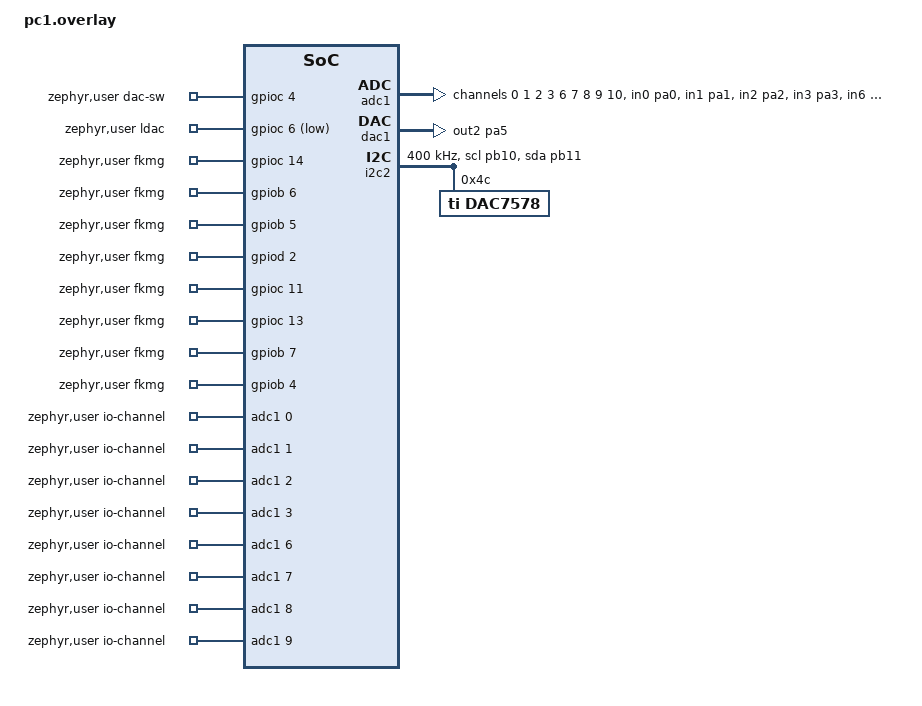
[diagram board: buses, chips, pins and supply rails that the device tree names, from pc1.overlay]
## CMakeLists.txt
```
# SPDX-License-Identifier: Apache-2.0

cmake_minimum_required(VERSION 3.20.0)

# Uncomment if you must specify the board here
set(BOARD fkmg_stm32f405)

# Set BOARD_ROOT to the parent directory of the 'boards' folder
list(APPEND BOARD_ROOT "/workspaces/terpsichore")

set(DTC_OVERLAY_FILE "${CMAKE_CURRENT_SOURCE_DIR}/terpsichore.overlay")

find_package(Zephyr REQUIRED HINTS $ENV{ZEPHYR_BASE})

# Include custom bindings in your board directory
set(ZEPHYR_EXTRA_MODULES "${BOARD_ROOT}/boards/arm/fkmg_terpsichore")

project(TERPSICHORE)

# Optimization flags based on build type
set(CMAKE_BUILD_TYPE Debug CACHE STRING "Choose the type of build.")
if(CMAKE_BUILD_TYPE MATCHES Debug)
    set(CMAKE_C_FLAGS "${CMAKE_C_FLAGS} -O0 -g" CACHE STRING "" FORCE)
elseif(CMAKE_BUILD_TYPE MATCHES Release)
    set(CMAKE_C_FLAGS "${CMAKE_C_FLAGS} -O3" CACHE STRING "" FORCE)
elseif(CMAKE_BUILD_TYPE MATCHES MinSizeRel)
    set(CMAKE_C_FLAGS "${CMAKE_C_FLAGS} -Os" CACHE STRING "" FORCE)
elseif(CMAKE_BUILD_TYPE MATCHES RelWithDebInfo)
    set(CMAKE_C_FLAGS "${CMAKE_C_FLAGS} -O2 -g" CACHE STRING "" FORCE)
endif()

# Explicitly list source files
set(app_sources
    src/main.c
)

target_sources(app PRIVATE ${app_sources})

# Main Include Directory
target_include_directories(app PRIVATE include)
```

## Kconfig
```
source "Kconfig.zephyr"

# menu "FKMG Terpsichore"

# rsource "drivers/Kconfig"

# endmenu
```

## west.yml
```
manifest:
  self:
    west-commands: scripts/west-commands.yml

  remotes:
    - name: zephyrproject-rtos
      url-base: https://github.com/zephyrproject-rtos
    - name: fkmg
      url-base: git@github.com:marcrickenbach

  projects:
    - name: zephyr
      remote: zephyrproject-rtos
      revision: v4.0.0-rc1
      import:
        name-allowlist:
          - hal_nxp
          - hal_stm32
          - cmsis
    - name: dac7578
      url: https://github.com/marcrickenbach/dac7578
      revision: main
      path: modules/fkmg/dac7578
```

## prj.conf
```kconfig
#Development Configs
CONFIG_MAIN_STACK_SIZE=4095
CONFIG_ARM_MPU=y

CONFIG_PINCTRL=y
CONFIG_PRINTK=y

# CONFIG_CONSOLE=y
# CONFIG_UART_CONSOLE=y
# CONFIG_SERIAL=y

CONFIG_LOG=y
CONFIG_LOG_MODE_IMMEDIATE=y
CONFIG_LOG_DEFAULT_LEVEL=4

#Peripheral Configs
CONFIG_ADC=y
CONFIG_GPIO=y
CONFIG_I2C=y
CONFIG_DAC=y
CONFIG_DAC7578=y
CONFIG_DAC7578_INIT_PRIORITY=80

# #Zephyr Specific Configs
CONFIG_MULTITHREADING=y
CONFIG_SMF=y
CONFIG_POLL=y
CONFIG_EVENTS=y
```

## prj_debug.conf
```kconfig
# #Development Configs

# CONFIG_CONSOLE=y
# CONFIG_PRINTK=y
# CONFIG_UART_INTERRUPT_DRIVEN=y
# CONFIG_REGULATOR=y

# #Peripheral Configs
# CONFIG_GPIO=y
# CONFIG_COUNTER=y
# # CONFIG_COUNTER_INIT_PRIORITY=50
# CONFIG_COUNTER_TIMER_STM32=y
# # CONFIG_COUNTER_RTC_STM32=y
# CONFIG_ADC=y
# CONFIG_PWM=y
# # CONFIG_DMA=y

# # #Transmission Configs
# CONFIG_SPI=y
# CONFIG_SPI_STM32=y
# # CONFIG_SPI_STM32_DMA=y
# # CONFIG_SPI_STM32_USE_HW_SS=n
# CONFIG_SPI_ASYNC=y
# CONFIG_DAC=y

# #Zephyr Specific Configs
# CONFIG_MULTITHREADING=y
# CONFIG_SMF=y
# CONFIG_POLL=y
# CONFIG_EVENTS=y
# CONFIG_DEBUG=y
# CONFIG_ASSERT=y
```

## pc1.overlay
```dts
/* USQ PC1 OVERLAY */

/{
    zephyr,user {
        dac-sw-gpios =  <&gpioc 4 GPIO_ACTIVE_HIGH>;
        ldac-gpios   =  <&gpioc 6 GPIO_ACTIVE_LOW>;


        io-channels         =  <&adc1 0>, // CV In 1
                               <&adc1 1>, // CV In 2
                               <&adc1 2>, // CV In 3
                               <&adc1 3>, // CV In 4
                               <&adc1 6>, // CH 1 Pot
                               <&adc1 7>, // CH 2 Pot
                               <&adc1 8>, // CH 3 Pot
                               <&adc1 9>, // CH 4 Pot
                               <&adc1 10>;// Param Pot

        fkmg-gpios =    <&gpioc 14 GPIO_ACTIVE_HIGH>, // Mode LEDs
                        <&gpiob  6 GPIO_ACTIVE_HIGH>,
                        <&gpiob  5 GPIO_ACTIVE_HIGH>,
                        <&gpiod  2 GPIO_ACTIVE_HIGH>,
                        <&gpioc 11 GPIO_ACTIVE_HIGH>,

                        <&gpioc 13 GPIO_ACTIVE_HIGH>, // Sub LEDs
                        <&gpiob  7 GPIO_ACTIVE_HIGH>,
                        <&gpiob  4 GPIO_ACTIVE_HIGH>,
                        <&gpioc 12 GPIO_ACTIVE_HIGH>,
                        <&gpioc 10 GPIO_ACTIVE_HIGH>,

                        <&gpiob 8 GPIO_ACTIVE_HIGH>, // Mode Select
                        <&gpiob 9 GPIO_ACTIVE_HIGH>; // Sub Select
        };

};


/**************************************/

&clk_hse {
	/delete-property/ hse-bypass;
};

&rcc {
    clocks = <&pll>;
    clock-frequency = <DT_FREQ_M(168)>;
    ahb-prescaler = <1>;
    apb1-prescaler = <4>; 
    apb2-prescaler = <2>;
};

/* Highest possible values to get a precise 48MHz clock for the USB on PLLQ. 
 * We could get the clock to 180MHz if we could derive the USB clock from the 
 * PLLSAIP, but Zephyr doesn't yet support this. If we need these extra MHz 
  * revisit this, for now probably ok. 
  */
&pll {
    div-m = <8>;
    mul-n = <336>;
    div-p = <2>;
    div-q = <7>;
    clocks = <&clk_hse>;
    status = "okay";
};


&adc1 {
    pinctrl-0 = <&adc1_in0_pa0
                 &adc1_in1_pa1 
                 &adc1_in2_pa2 
                 &adc1_in3_pa3
                 &adc1_in6_pa6
                 &adc1_in7_pa7
                 &adc1_in8_pb0
                 &adc1_in9_pb1
                 &adc1_in10_pc0>;  
    pinctrl-names = "default";
    st,adc-prescaler = <2>;
    status = "okay";
    #address-cells = <1>;
	#size-cells = <0>;

	channel@0 { // CV In 1
		reg = <0>;
		zephyr,gain = "ADC_GAIN_1";
		zephyr,reference = "ADC_REF_INTERNAL";
		zephyr,acquisition-time = <ADC_ACQ_TIME_DEFAULT>;
		zephyr,resolution = <12>;
	};
    channel@1 { // CV In 1
        reg = <1>;
        zephyr,gain = "ADC_GAIN_1";
        zephyr,reference = "ADC_REF_INTERNAL";
        zephyr,acquisition-time = <ADC_ACQ_TIME_DEFAULT>;
        zephyr,resolution = <12>;
    };
    channel@2 { // CV In 1
        reg = <2>;
        zephyr,gain = "ADC_GAIN_1";
        zephyr,reference = "ADC_REF_INTERNAL";
        zephyr,acquisition-time = <ADC_ACQ_TIME_DEFAULT>;
        zephyr,resolution = <12>;
    };
    channel@3 { // CV In 1
        reg = <3>;
        zephyr,gain = "ADC_GAIN_1";
        zephyr,reference = "ADC_REF_INTERNAL";
        zephyr,acquisition-time = <ADC_ACQ_TIME_DEFAULT>;
        zephyr,resolution = <12>;
    };
    channel@6 {
        reg = <6>;
        zephyr,gain = "ADC_GAIN_1";
        zephyr,reference = "ADC_REF_INTERNAL";
        zephyr,acquisition-time = <ADC_ACQ_TIME_DEFAULT>;
        zephyr,resolution = <8>;
    };
    channel@7 {
        reg = <7>;
        zephyr,gain = "ADC_GAIN_1";
        zephyr,reference = "ADC_REF_INTERNAL";
        zephyr,acquisition-time = <ADC_ACQ_TIME_DEFAULT>;
        zephyr,resolution = <8>;
    };
    channel@8 {
        reg = <8>;
        zephyr,gain = "ADC_GAIN_1";
        zephyr,reference = "ADC_REF_INTERNAL";
        zephyr,acquisition-time = <ADC_ACQ_TIME_DEFAULT>;
        zephyr,resolution = <8>;
    };
    channel@9 {
        reg = <9>;
        zephyr,gain = "ADC_GAIN_1";
        zephyr,reference = "ADC_REF_INTERNAL";
        zephyr,acquisition-time = <ADC_ACQ_TIME_DEFAULT>;
        zephyr,resolution = <8>;
    };
    channel@a {
        reg = <10>;
        zephyr,gain = "ADC_GAIN_1";
        zephyr,reference = "ADC_REF_INTERNAL";
        zephyr,acquisition-time = <ADC_ACQ_TIME_DEFAULT>;
        zephyr,resolution = <8>;
    };
};


&dac1 {
    pinctrl-0 = <&dac_out2_pa5>;  
    pinctrl-names = "default";
    status = "okay";  
};


&i2c2 {
    status = "okay";
    clock-frequency = <400000>;
    pinctrl-0 = <&i2c2_scl_pb10 &i2c2_sda_pb11>;
    pinctrl-names = "default";

    dac7578: dac7578@4c {
        compatible = "ti,dac7578";
        reg = <0x4c>;
        status = "okay";
    };
};


&dma1 {
    status="okay";
};


&dma2 {
    status="okay";
};
```

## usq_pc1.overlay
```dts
/* TERPSICHORE OVERLAY */

/{
    zephyr,user {
        dac-sw-gpios =  <&gpioc 4 GPIO_ACTIVE_HIGH>;
        ldac-gpios   =  <&gpioc 6 GPIO_ACTIVE_LOW>;


        io-channels         =  <&adc1 0>, // CV In 1
                               <&adc1 1>, // CV In 2
                               <&adc1 2>, // CV In 3
                               <&adc1 3>, // CV In 4
                               <&adc1 6>, // CH 1 Pot
                               <&adc1 7>, // CH 2 Pot
                               <&adc1 8>, // CH 3 Pot
                               <&adc1 9>, // CH 4 Pot
                               <&adc1 10>;// Param Pot

        fkmg-gpios =    <&gpioc 14 GPIO_ACTIVE_HIGH>, // Mode LEDs
                        <&gpiob  6 GPIO_ACTIVE_HIGH>,
                        <&gpiob  5 GPIO_ACTIVE_HIGH>,
                        <&gpiod  2 GPIO_ACTIVE_HIGH>,
                        <&gpioc 11 GPIO_ACTIVE_HIGH>,

                        <&gpioc 13 GPIO_ACTIVE_HIGH>, // Sub LEDs
                        <&gpiob  7 GPIO_ACTIVE_HIGH>,
                        <&gpiob  4 GPIO_ACTIVE_HIGH>,
                        <&gpioc 12 GPIO_ACTIVE_HIGH>,
                        <&gpioc 10 GPIO_ACTIVE_HIGH>,

                        <&gpiob 8 GPIO_ACTIVE_HIGH>, // Mode Select
                        <&gpiob 9 GPIO_ACTIVE_HIGH>; // Sub Select
        };

};


/**************************************/

&clk_hse {
	/delete-property/ hse-bypass;
};

&rcc {
    clocks = <&pll>;
    clock-frequency = <DT_FREQ_M(168)>;
    ahb-prescaler = <1>;
    apb1-prescaler = <4>; 
    apb2-prescaler = <2>;
};

/* Highest possible values to get a precise 48MHz clock for the USB on PLLQ. 
 * We could get the clock to 180MHz if we could derive the USB clock from the 
 * PLLSAIP, but Zephyr doesn't yet support this. If we need these extra MHz 
  * revisit this, for now probably ok. 
  */
&pll {
    div-m = <8>;
    mul-n = <336>;
    div-p = <2>;
    div-q = <7>;
    clocks = <&clk_hse>;
    status = "okay";
};


&adc1 {
    pinctrl-0 = <&adc1_in0_pa0
                 &adc1_in1_pa1 
                 &adc1_in2_pa2 
                 &adc1_in3_pa3
                 &adc1_in6_pa6
                 &adc1_in7_pa7
                 &adc1_in8_pb0
                 &adc1_in9_pb1
                 &adc1_in10_pc0>;  
    pinctrl-names = "default";
    st,adc-prescaler = <2>;
    status = "okay";
    #address-cells = <1>;
	#size-cells = <0>;

	channel@0 { // CV In 1
		reg = <0>;
		zephyr,gain = "ADC_GAIN_1";
		zephyr,reference = "ADC_REF_INTERNAL";
		zephyr,acquisition-time = <ADC_ACQ_TIME_DEFAULT>;
		zephyr,resolution = <12>;
	};
    channel@1 { // CV In 1
        reg = <1>;
        zephyr,gain = "ADC_GAIN_1";
        zephyr,reference = "ADC_REF_INTERNAL";
        zephyr,acquisition-time = <ADC_ACQ_TIME_DEFAULT>;
        zephyr,resolution = <12>;
    };
    channel@2 { // CV In 1
        reg = <2>;
        zephyr,gain = "ADC_GAIN_1";
        zephyr,reference = "ADC_REF_INTERNAL";
        zephyr,acquisition-time = <ADC_ACQ_TIME_DEFAULT>;
        zephyr,resolution = <12>;
    };
    channel@3 { // CV In 1
        reg = <3>;
        zephyr,gain = "ADC_GAIN_1";
        zephyr,reference = "ADC_REF_INTERNAL";
        zephyr,acquisition-time = <ADC_ACQ_TIME_DEFAULT>;
        zephyr,resolution = <12>;
    };
    channel@6 {
        reg = <6>;
        zephyr,gain = "ADC_GAIN_1";
        zephyr,reference = "ADC_REF_INTERNAL";
        zephyr,acquisition-time = <ADC_ACQ_TIME_DEFAULT>;
        zephyr,resolution = <8>;
    };
    channel@7 {
        reg = <7>;
        zephyr,gain = "ADC_GAIN_1";
        zephyr,reference = "ADC_REF_INTERNAL";
        zephyr,acquisition-time = <ADC_ACQ_TIME_DEFAULT>;
        zephyr,resolution = <8>;
    };
    channel@8 {
        reg = <8>;
        zephyr,gain = "ADC_GAIN_1";
        zephyr,reference = "ADC_REF_INTERNAL";
        zephyr,acquisition-time = <ADC_ACQ_TIME_DEFAULT>;
        zephyr,resolution = <8>;
    };
    channel@9 {
        reg = <9>;
        zephyr,gain = "ADC_GAIN_1";
        zephyr,reference = "ADC_REF_INTERNAL";
        zephyr,acquisition-time = <ADC_ACQ_TIME_DEFAULT>;
        zephyr,resolution = <8>;
    };
    channel@a {
        reg = <10>;
        zephyr,gain = "ADC_GAIN_1";
        zephyr,reference = "ADC_REF_INTERNAL";
        zephyr,acquisition-time = <ADC_ACQ_TIME_DEFAULT>;
        zephyr,resolution = <8>;
    };
};


&dac1 {
    pinctrl-0 = <&dac_out2_pa5>;  
    pinctrl-names = "default";
    status = "okay";  
};


&i2c2 {
    status = "okay";
    clock-frequency = <400000>;
    pinctrl-0 = <&i2c2_scl_pb10 &i2c2_sda_pb11>;
    pinctrl-names = "default";

    dac7578: dac7578@4c {
        compatible = "ti,dac7578";
        reg = <0x4c>;
        status = "okay";
    };
};


&dma1 {
    status="okay";
};


&dma2 {
    status="okay";
};
```

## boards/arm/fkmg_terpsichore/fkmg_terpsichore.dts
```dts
/*
 * Copyright (c) 2024 FKMG Circuits
 *
 * SPDX-License-Identifier: Apache-2.0
 */

 /dts-v1/;
 #include <st/f4/stm32f405Xg.dtsi>
 #include <st/f4/stm32f405rgtx-pinctrl.dtsi>
 #include <zephyr/dt-bindings/input/input-event-codes.h>
 
 / {
	 model = "FKMG Terpsichore";
	 compatible = "fkmg,terpsichore", "st,stm32f405";
 
	 chosen {
		//  zephyr,console = &usart1;
		//  zephyr,shell-uart = &usart1;
		 zephyr,sram = &sram0;
		 zephyr,flash = &flash0;
		 zephyr,ccm = &ccm0;
	 };
 
 };
 
 &clk_lsi {
	 status = "okay";
 };
 
 &clk_hse {
	 clock-frequency = <DT_FREQ_M(8)>;
	 status = "okay";
 };
 
 &pll {
	 div-m = <8>;
	 mul-n = <336>;
	 div-p = <2>;
	 div-q = <7>;
	 clocks = <&clk_hse>;
	 status = "okay";
 };
 
 &rcc {
	 clocks = <&pll>;
	 clock-frequency = <DT_FREQ_M(168)>;
	 ahb-prescaler = <1>;
	 apb1-prescaler = <4>;
	 apb2-prescaler = <2>;
 };
 
&adc1 {
	status = "okay";
};

 &i2c2 {
	 pinctrl-0 = <&i2c2_scl_pb10 &i2c2_sda_pb11>;
	 pinctrl-names = "default";
	 status = "okay";
	 clock-frequency = <I2C_BITRATE_FAST>;
 };
 
 &spi2 {
	pinctrl-0 = <&spi2_mosi_pb15 &spi2_miso_pb14 &spi2_sck_pb13>;
	pinctrl-names = "default";
	status = "okay";
 };
 
 &rtc {
	 clocks = <&rcc STM32_CLOCK_BUS_APB1 0x10000000>,
		  <&rcc STM32_SRC_LSI RTC_SEL(2)>;
	 status = "okay";
 };
 
 zephyr_udc0: &usbotg_fs {
	 pinctrl-0 = <&usb_otg_fs_dm_pa11 &usb_otg_fs_dp_pa12>;
	 pinctrl-names = "default";
	 status = "okay";
 };

 &backup_sram {
	 status = "okay";
 };
```

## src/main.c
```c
/* *****************************************************************************
 * Includes
 */

#include <zephyr/kernel.h>
#include <zephyr/drivers/gpio.h>
#include <zephyr/drivers/counter.h>
#include <zephyr/drivers/dac.h>
#include <zephyr/device.h>
#include <zephyr/devicetree.h>

#include <assert.h>
#include <string.h>


/* *****************************************************************************
 * Debugging
 */
#include <zephyr/logging/log.h>
LOG_MODULE_REGISTER(main);

/* *****************************************************************************
 * Defines
 */

/* Error if took longer than this to initialize. */
#define WAIT_MAX_MSECS_FOR_INITIALIZATION 50

/* Enable Thread Defines. */

#define CONFIG_FKMG_IO_CTRL_DAC_THREAD      0

/* *****************************************************************************
 * Threads
 */
/* FKMG IO CONTROL THREADS. */

#if CONFIG_FKMG_IO_CTRL_DAC_THREAD
    /* Declare threads, queues, and other data structures for fkmg io dac instance. */
    static struct k_thread fkmg_io_ctrl_dac_thread;
    #define FKMG_IO_CTRL_DAC_THREAD_STACK_SZ_BYTES   1024
    K_THREAD_STACK_DEFINE(fkmg_io_ctrl_dac_thread_stack, FKMG_IO_CTRL_DAC_THREAD_STACK_SZ_BYTES);
    #define MAX_QUEUED_FKMG_IO_CTRL_DAC_SM_EVTS  10
    #define FKMG_IO_CTRL_DAC_SM_QUEUE_ALIGNMENT  4
    K_MSGQ_DEFINE(fkmg_io_ctrl_dac_sm_evt_q, sizeof(struct FKMG_IO_CTRL_DAC_SM_Evt),
            MAX_QUEUED_FKMG_IO_CTRL_DAC_SM_EVTS, FKMG_IO_CTRL_DAC_SM_QUEUE_ALIGNMENT);
    static struct FKMG_IO_CTRL_DAC_Instance fkmg_io_ctrl_dac_inst;
#endif

/* *****************************************************************************
 * Listeners
 */

#if 0
static struct Pot_Listener midi_rcvd_listener;
#endif

/* *****************************************************************************
 * Kernel Events
 *
 * Zephyr low-overhead kernel way for threads to wait on and post asynchronous
 * events.
 */

/* For handling asynchronous callbacks. */
K_EVENT_DEFINE(events);
#define EVT_FLAG_INSTANCE_INITIALIZED   (1 << 0)



/* *****************************************************************************
 * Private Functions.
 */

/* ********************
 * ON LISTENER INITS
 * ********************/
// static void on_fkmg_io_ctrl_adc_converted(struct FKMG_IO_CTRL_ADC_Evt *p_evt)
// {
//     assert(p_evt->sig == k_FKMG_IO_CTRL_ADC_Evt_Sig_Converted);
//     /* Broadcast to where-ever. */
// }


/* ********************
 * ON INSTANCE INITS
 * ********************/

#if CONFIG_FKMG_IO_CTRL_DAC_THREAD
    static void on_fkmg_io_ctrl_dac_instance_initialized(struct FKMG_IO_CTRL_DAC_Evt *p_evt)
    {
        assert(p_evt->sig == k_FKMG_IO_CTRL_DAC_Evt_Sig_Instance_Initialized);
        assert(p_evt->data.initd.p_inst == &fkmg_io_ctrl_dac_inst);
        k_event_post(&events, EVT_FLAG_INSTANCE_INITIALIZED);
    }
#endif

/* ********************
 * WAIT ON INSTANCE INIT
 * ********************/

static void wait_on_instance_initialized(void)
{
	uint32_t events_rcvd = k_event_wait(&events, EVT_FLAG_INSTANCE_INITIALIZED,
		true, K_MSEC(WAIT_MAX_MSECS_FOR_INITIALIZATION));
	assert(events_rcvd == EVT_FLAG_INSTANCE_INITIALIZED);
}


/* *****************************************************************************
 * Public.
 */




int main(void) {
    int ret;

    const struct device *dac_dev = DEVICE_DT_GET(DT_NODELABEL(dac7578));
 
  if (!device_is_ready(dac_dev)) {
        printk("DAC7578 device not ready\n");
        return 0;
    }
/* 
    printk("DAC7578 device ready\n");
    return 0;


    // Initialize the DAC
    ret = dac7578_init();
    if (ret != 0) {
        printk("Failed to initialize DAC7578\n");
        return ret;
    }

    while(1) {
        static int v = 0; 

        for (int i = 0; i < 8; i++) {
            // Write to DAC
            ret = dac7578_write(i, 0);
            if (ret != 0) {
                printk("Failed to write to DAC7578\n");
                return ret;
            }
            k_sleep(K_MSEC(2));
        }

        // v += 250; 
        // if (v > 4095) {
        //     v = 0;
        // }
    }
*/




/* FKMG I/O Control Driver Initialization*/
#if CONFIG_FKMG_IO_CTRL_DAC_THREAD
/* Instance: DAC */
    struct FKMG_IO_CTRL_DAC_Instance_Cfg fkmg_io_ctrl_dac_inst_cfg = {
        .p_inst = &fkmg_io_ctrl_dac_inst,
        .task.sm.p_thread = &fkmg_io_ctrl_dac_inst,
        .task.sm.p_stack = fkmg_io_ctrl_dac_thread_stack,
        .task.sm.stack_sz = K_THREAD_STACK_SIZEOF(fkmg_io_ctrl_dac_thread_stack),
        .task.sm.prio = K_LOWEST_APPLICATION_THREAD_PRIO,
        .msgq.p_sm_evts = &fkmg_io_ctrl_dac_sm_evt_q,
        .cb = on_fkmg_io_ctrl_dac_instance_initialized,
    };
    FKMG_IO_CTRL_DAC_Init_Instance(&fkmg_io_ctrl_dac_inst_cfg);
    wait_on_instance_initialized();
#endif

};
```
